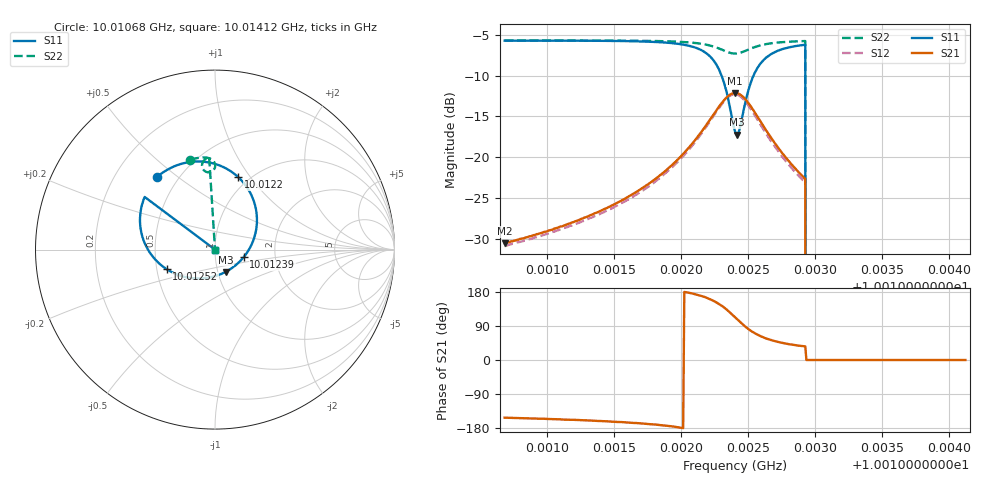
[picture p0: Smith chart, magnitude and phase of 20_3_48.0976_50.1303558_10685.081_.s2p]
#  HZ  S  RI  R  50.00
! Rohde & Schwarz Vector Network Analyzer
! Rohde-Schwarz,ZNB20-2Port,1311601062101988,3.16
! Created: UTC 12/23/2023, 3:36:35 AM
! freq[Hz]  re:S11  im:S11  re:S21  im:S21  re:S12  im:S12  re:S22  im:S22
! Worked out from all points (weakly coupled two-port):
!   401 points, 10.01068 GHz to 10.01412 GHz, reference 50 ohm
!   highest |S21| = -12.12 dB at 10.0124 GHz (marker M1); lowest = -30.6 dB at 10.01068 GHz (marker M2)
!   lowest |S11| = -17.2 dB at 10.01242 GHz (marker M3), VSWR 1.32, Z = 54.4 - j13.8 ohm
!   |S11| at or under -10 dB: 10.0123 GHz to 10.01254 GHz (238.2 kHz wide, 0.00238 % of centre); 10.01293 GHz to end of sweep
!   |S22| runs from - to -5.7 dB; largest |S21 - S12| = 0.012
!   S11 on the Smith chart (normalised r, x): 10.01068 GHz: 0.38, +0.43; 10.0122 GHz: 0.89, +0.88; 10.01239 GHz: 1.38, -0.12; 10.01252 GHz: 0.56, -0.13; 10.01412 GHz: 1.00, +0.00
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1.0010683e10  -0.3216 0.4069  -0.0263 -0.0138  -0.0244 -0.0146  -0.138 0.5012
1.0011259e10  -0.2637 0.4459  -0.0391 -0.015  -0.0368 -0.0165  -0.0981 0.5104
1.0011569e10  -0.2137 0.469  -0.0528 -0.015  -0.0501 -0.0169  -0.0741 0.5132
1.0011835e10  -0.1403 0.488  -0.0755 -0.0115  -0.0721 -0.0152  -0.0498 0.5129
1.0012076e10  -0.00399 0.4787  -0.1187 0.00787  -0.1156 0.0013  -0.0214 0.5042
1.0012205e10  0.13 0.4031  -0.1568 0.0498  -0.1556 0.0404  -0.00394 0.4867
1.0012256e10  0.1911 0.3258  -0.1696 0.0851  -0.171 0.0744  0.000665 0.473
1.0012308e10  0.2316 0.2021  -0.1712 0.1337  -0.1741 0.1241  -0.000885 0.4556
1.0012351e10  0.2186 0.0662  -0.1514 0.1824  -0.1565 0.1733  -0.0107 0.4406
1.0012385e10  0.1604 -0.0417  -0.1182 0.216  -0.1234 0.2085  -0.0243 0.4324
1.0012403e10  0.1139 -0.0881  -0.0962 0.2283  -0.1009 0.2214  -0.0325 0.4307
1.001242e10  0.0589 -0.1244  -0.073 0.2356  -0.0774 0.229  -0.0409 0.4312
1.0012463e10  -0.0928 -0.1614  -0.0136 0.2342  -0.0178 0.2273  -0.059 0.4392
1.0012523e10  -0.2691 -0.1092  0.0472 0.1981  0.04 0.1917  -0.0713 0.4592
1.0012583e10  -0.3654 -0.0131  0.0729 0.1542  0.0658 0.149  -0.0713 0.4778
1.0012652e10  -0.409 0.0882  0.0806 0.1133  0.0732 0.1106  -0.0647 0.4923
1.0012772e10  -0.4152 0.2076  0.0733 0.0703  0.0668 0.0698  -0.0499 0.5066
1.001291e10  -0.3946 0.2859  0.061 0.0453  0.056 0.0454  -0.0343 0.5142
1.0012953e10  0 0  0 0  0 0  0 0
1.0012979e10  0 0  0 0  0 0  0 0
1.0013555e10  0 0  0 0  0 0  0 0
1.0014122e10  0 0  0 0  0 0  0 0
